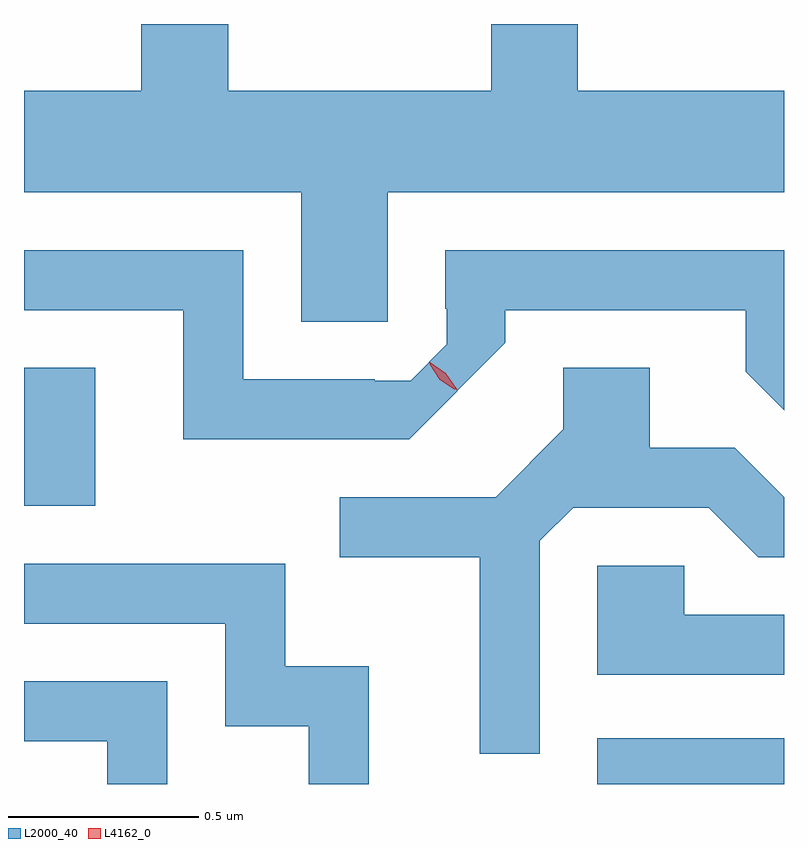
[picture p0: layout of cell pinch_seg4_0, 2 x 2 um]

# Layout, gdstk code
import gdstk
lib = gdstk.Library(unit=1e-6, precision=1e-09)
def R(c, l, rs):  # rectangles x0, y0, x1, y1
    for r in rs: c.add(gdstk.rectangle(r[:2], r[2:], *l))
def P(c, l, *ps):  # polygons
    for p in ps: c.add(gdstk.Polygon(p, *l))
L2000_40 = (2000, 40)
L4162_0 = (4162, 0)

pinch_seg4_0 = lib.new_cell('pinch_seg4_0')
R(pinch_seg4_0, L2000_40, [(1869.801,1322.039,1870.292,1322.159), (1868.292,1322.771,1868.479,1323.134)])
P(pinch_seg4_0, L2000_40, [(1869.249,1323.596),(1870.292,1323.596),(1870.292,1323.864),(1869.749,1323.864),(1869.749,1324.039),(1869.521,1324.039),(1869.521,1323.864),(1868.829,1323.864),(1868.829,1324.039),(1868.601,1324.039),(1868.601,1323.864),(1868.292,1323.864),(1868.292,1323.596),(1869.021,1323.596),(1869.021,1323.256),(1869.249,1323.256)],
  [(1869.559,1323.2),(1869.559,1323.286),(1870.191,1323.286),(1870.191,1323.124),(1870.292,1323.023),(1870.292,1323.444),(1869.401,1323.444),(1869.401,1323.29),(1869.405,1323.29),(1869.405,1323.196),(1869.31,1323.1),(1869.215,1323.1),(1869.215,1323.104),(1868.869,1323.104),(1868.869,1323.444),(1868.292,1323.444),(1868.292,1323.286),(1868.711,1323.286),(1868.711,1322.946),(1869.306,1322.946)],
  [(1869.649,1322.679),(1869.737,1322.766),(1870.094,1322.766),(1870.224,1322.636),(1870.292,1322.636),(1870.292,1322.794),(1870.162,1322.924),(1869.939,1322.924),(1869.939,1323.134),(1869.711,1323.134),(1869.711,1322.972),(1869.534,1322.794),(1869.123,1322.794),(1869.123,1322.636),(1869.491,1322.636),(1869.491,1322.118),(1869.649,1322.118)],
  [(1869.199,1322.349),(1868.979,1322.349),(1868.979,1322.619),(1868.292,1322.619),(1868.292,1322.461),(1868.821,1322.461),(1868.821,1322.191),(1869.041,1322.191),(1869.041,1322.039),(1869.199,1322.039)],
  [(1870.292,1322.484),(1870.029,1322.484),(1870.029,1322.614),(1869.801,1322.614),(1869.801,1322.326),(1870.292,1322.326)],
  [(1868.669,1322.309),(1868.292,1322.309),(1868.292,1322.151),(1868.511,1322.151),(1868.511,1322.039),(1868.669,1322.039)])
P(pinch_seg4_0, L4162_0, [(1869.432,1323.075),(1869.388,1323.106),(1869.359,1323.149),(1869.359,1323.15),(1869.359,1323.15),(1869.402,1323.12),(1869.432,1323.076),(1869.432,1323.075)],
  [(1869.425,1323.077),(1869.386,1323.103),(1869.36,1323.144),(1869.36,1323.144),(1869.361,1323.144),(1869.4,1323.118),(1869.426,1323.078),(1869.426,1323.077)])

lib.write_gds('pinch_seg4_0.gds')
